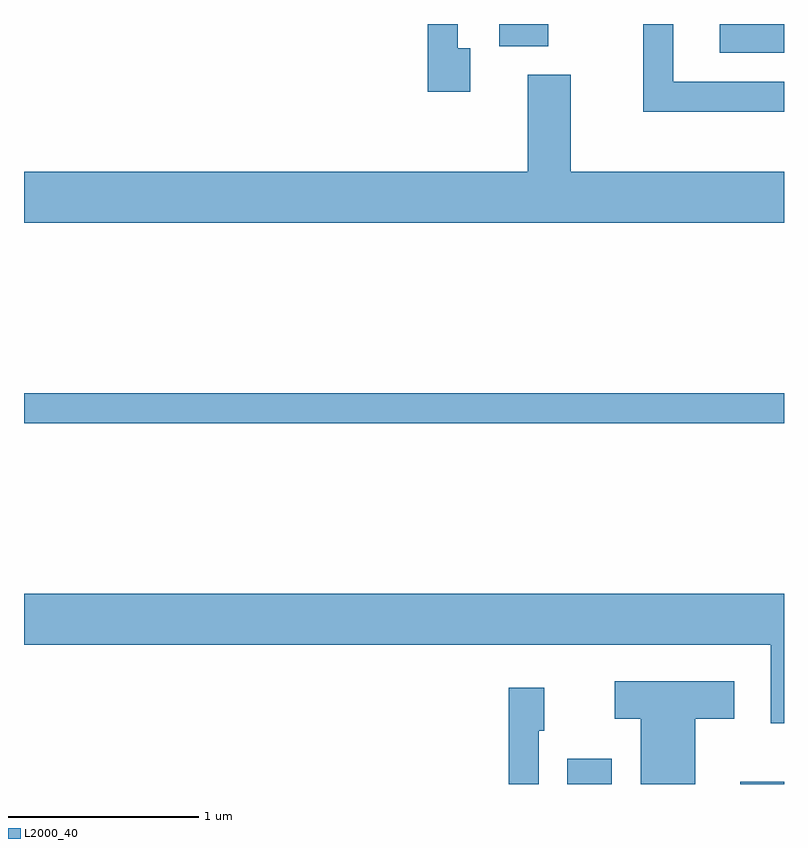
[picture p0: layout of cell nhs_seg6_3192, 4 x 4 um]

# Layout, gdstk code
import gdstk
lib = gdstk.Library(unit=1e-6, precision=1e-09)
def R(c, l, rs):  # rectangles x0, y0, x1, y1
    for r in rs: c.add(gdstk.rectangle(r[:2], r[2:], *l))
def P(c, l, *ps):  # polygons
    for p in ps: c.add(gdstk.Polygon(p, *l))
L2000_40 = (2000, 40)

nhs_seg6_3192 = lib.new_cell('nhs_seg6_3192')
R(nhs_seg6_3192, L2000_40, [(284.471,1578.162,284.704,1578.294), (285.381,1578.162,285.611,1578.174), (281.611,1580.061,285.611,1580.219), (285.273,1582.011,285.611,1582.162), (284.111,1582.046,284.369,1582.162)])
P(nhs_seg6_3192, L2000_40, [(283.959,1582.034),(283.894,1582.034),(283.894,1582.162),(283.736,1582.162),(283.736,1581.806),(283.959,1581.806)],
  [(285.611,1581.859),(285.029,1581.859),(285.029,1582.162),(284.871,1582.162),(284.871,1581.701),(285.611,1581.701)],
  [(285.611,1581.384),(284.489,1581.384),(284.489,1581.894),(284.261,1581.894),(284.261,1581.384),(281.611,1581.384),(281.611,1581.116),(285.611,1581.116)],
  [(285.611,1579.164),(281.611,1579.164),(281.611,1578.896),(285.541,1578.896),(285.541,1578.481),(285.611,1578.481)],
  [(285.144,1578.506),(285.349,1578.506),(285.349,1578.704),(284.721,1578.704),(284.721,1578.506),(284.856,1578.506),(284.856,1578.162),(285.144,1578.162)],
  [(284.319,1578.441),(284.349,1578.441),(284.349,1578.669),(284.161,1578.669),(284.161,1578.162),(284.319,1578.162)])

lib.write_gds('nhs_seg6_3192.gds')
